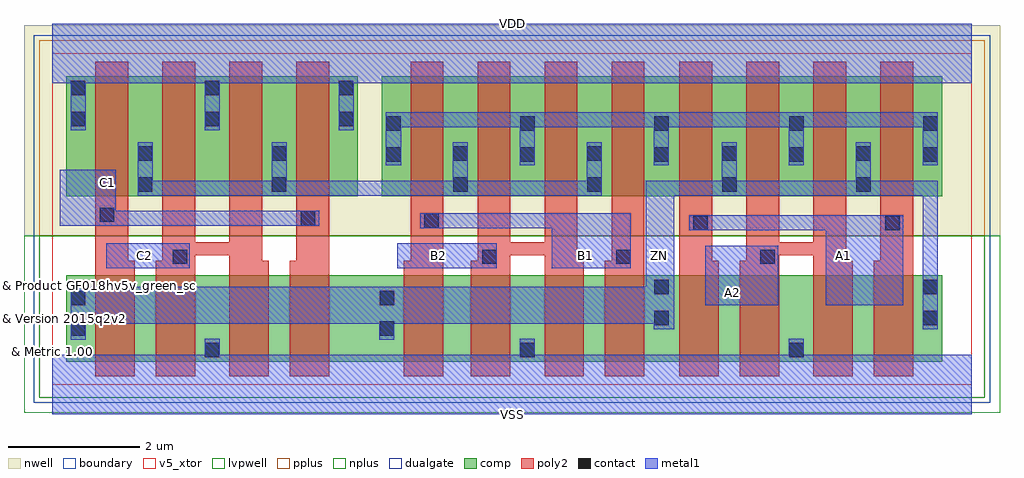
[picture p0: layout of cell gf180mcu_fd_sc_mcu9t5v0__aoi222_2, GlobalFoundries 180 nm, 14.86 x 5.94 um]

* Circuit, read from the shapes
.subckt gf180mcu_fd_sc_mcu9t5v0__aoi222_2 A1 A2 B1 B2 C1 C2 VDD VSS ZN
XM1 n1 C1 ZN VSUBS nfet_05v0 w=1.32u l=0.6u
XM2 VSS C2 n1 VSUBS nfet_05v0 w=1.32u l=0.6u
XM3 n2 C2 VSS VSUBS nfet_05v0 w=1.32u l=0.6u
XM4 ZN C1 n2 VSUBS nfet_05v0 w=1.32u l=0.6u
XM5 n3 B1 ZN VSUBS nfet_05v0 w=1.32u l=0.6u
XM6 VSS B2 n3 VSUBS nfet_05v0 w=1.32u l=0.6u
XM7 n4 B2 VSS VSUBS nfet_05v0 w=1.32u l=0.6u
XM8 ZN B1 n4 VSUBS nfet_05v0 w=1.32u l=0.6u
XM9 n5 A1 ZN VSUBS nfet_05v0 w=1.32u l=0.6u
XM10 VSS A2 n5 VSUBS nfet_05v0 w=1.32u l=0.6u
XM11 n6 A2 VSS VSUBS nfet_05v0 w=1.32u l=0.6u
XM12 ZN A1 n6 VSUBS nfet_05v0 w=1.32u l=0.6u
XM13 n7 C1 VDD n8 pfet_05v0 w=1.83u l=0.5u m=2
XM14 VDD C2 n7 n8 pfet_05v0 w=1.83u l=0.5u m=2
XM15 n7 B1 n9 n8 pfet_05v0 w=1.83u l=0.5u m=2
XM16 n9 B2 n7 n8 pfet_05v0 w=1.83u l=0.5u m=2
XM17 ZN A1 n9 n8 pfet_05v0 w=1.83u l=0.5u m=2
XM18 n9 A2 ZN n8 pfet_05v0 w=1.83u l=0.5u m=2
.ends

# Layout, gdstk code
import gdstk
lib = gdstk.Library(unit=1e-6, precision=1e-09)
def R(c, l, rs):  # rectangles x0, y0, x1, y1
    for r in rs: c.add(gdstk.rectangle(r[:2], r[2:], *l))
def A(c, l, x, y, w, h, nx, ny, dx, dy):  # array of equal rectangles
    R(c, l, [(x+i*dx, y+j*dy, x+i*dx+w, y+j*dy+h) for i in range(nx) for j in range(ny)])
def P(c, l, *ps):  # polygons
    for p in ps: c.add(gdstk.Polygon(p, *l))
boundary = (0, 0)
nwell = (21, 0)
comp = (22, 0)
poly2 = (30, 0)
pplus = (31, 0)
nplus = (32, 0)
contact = (33, 0)
metal1 = (34, 0)
dualgate = (55, 0)
v5_xtor = (112, 1)
lvpwell = (204, 0)

gf180mcu_fd_sc_mcu9t5v0_ = lib.new_cell('gf180mcu_fd_sc_mcu9t5v0__aoi222_2')
R(gf180mcu_fd_sc_mcu9t5v0_, boundary, [(0,0,14,5.04)])
R(gf180mcu_fd_sc_mcu9t5v0_, nwell, [(-0.43,2.265,14.43,5.47)])
R(gf180mcu_fd_sc_mcu9t5v0_, comp, [(0.215,0.345,13.55,1.665), (0.215,2.865,4.655,4.695), (5.015,2.865,13.55,4.695)])
P(gf180mcu_fd_sc_mcu9t5v0_, poly2, [(0.655,0.125),(0.655,4.915),(1.155,4.915),(1.155,1.885),(1.255,1.885),(1.255,0.125)],
  [(1.575,0.125),(1.575,1.885),(1.675,1.885),(1.675,4.915),(2.175,4.915),(2.175,2.165),(2.695,2.165),(2.695,4.915),(3.195,4.915),(3.195,1.885),(3.295,1.885),(3.295,0.125),(2.695,0.125),(2.695,1.965),(2.175,1.965),(2.175,0.125)],
  [(3.615,0.125),(3.615,1.885),(3.715,1.885),(3.715,4.915),(4.215,4.915),(4.215,0.125)],
  [(5.355,0.125),(5.355,1.885),(5.455,1.885),(5.455,4.915),(5.955,4.915),(5.955,0.125)],
  [(6.375,0.125),(6.375,1.885),(6.475,1.885),(6.475,4.915),(6.975,4.915),(6.975,2.165),(7.495,2.165),(7.495,4.915),(7.995,4.915),(7.995,1.885),(8.095,1.885),(8.095,0.125),(7.495,0.125),(7.495,1.965),(6.975,1.965),(6.975,0.125)],
  [(8.415,0.125),(8.415,1.885),(8.515,1.885),(8.515,4.915),(9.015,4.915),(9.015,0.125)],
  [(9.55,0.125),(9.55,4.915),(10.05,4.915),(10.05,1.885),(10.15,1.885),(10.15,0.125)],
  [(10.47,0.125),(10.47,1.885),(10.57,1.885),(10.57,4.915),(11.07,4.915),(11.07,2.165),(11.59,2.165),(11.59,4.915),(12.09,4.915),(12.09,1.885),(12.19,1.885),(12.19,0.125),(11.59,0.125),(11.59,1.965),(11.07,1.965),(11.07,0.125)],
  [(12.51,0.125),(12.51,1.885),(12.61,1.885),(12.61,4.915),(13.11,4.915),(13.11,0.125)])
R(gf180mcu_fd_sc_mcu9t5v0_, pplus, [(-0.2,2.265,14.2,5.24)])
R(gf180mcu_fd_sc_mcu9t5v0_, nplus, [(-0.2,-0.2,14.2,2.265)])
A(gf180mcu_fd_sc_mcu9t5v0_, contact, 5.085, 3.395, 0.22, 0.22, 3, 2, 2.04, 0.47)
A(gf180mcu_fd_sc_mcu9t5v0_, contact, 0.285, 3.935, 0.22, 0.22, 3, 2, 2.04, 0.47)
R(gf180mcu_fd_sc_mcu9t5v0_, contact, [(2.325,0.415,2.545,0.635), (7.125,0.415,7.345,0.635), (11.22,0.415,11.44,0.635), (0.285,0.74,0.505,0.96), (4.985,0.74,5.205,0.96), (9.165,0.905,9.385,1.125), (13.26,0.905,13.48,1.125), (0.285,1.21,0.505,1.43), (4.985,1.21,5.205,1.43), (9.165,1.375,9.385,1.595), (13.26,1.375,13.48,1.595), (1.835,1.835,2.055,2.055), (6.545,1.835,6.765,2.055), (8.585,1.835,8.805,2.055), (10.78,1.835,11,2.055), (9.76,2.35,9.98,2.57), (12.68,2.35,12.9,2.57), (5.665,2.385,5.885,2.605), (3.785,2.42,4.005,2.64), (0.725,2.475,0.945,2.695), (1.305,2.935,1.525,3.155), (3.345,2.935,3.565,3.155), (6.105,2.935,6.325,3.155), (8.145,2.935,8.365,3.155), (10.2,2.935,10.42,3.155), (12.24,2.935,12.46,3.155), (11.22,3.395,11.44,3.615), (13.26,3.395,13.48,3.615), (1.305,3.405,1.525,3.625), (3.345,3.405,3.565,3.625), (6.105,3.405,6.325,3.625), (8.145,3.405,8.365,3.625), (10.2,3.405,10.42,3.625), (12.24,3.405,12.46,3.625), (11.22,3.865,11.44,4.085), (13.26,3.865,13.48,4.085)])
R(gf180mcu_fd_sc_mcu9t5v0_, metal1, [(9.945,1.21,11.05,2.115), (0.825,1.77,2.09,2.15), (5.255,1.77,6.77,2.15)])
P(gf180mcu_fd_sc_mcu9t5v0_, metal1, [(0.115,2.415),(0.115,3.27),(0.97,3.27),(0.97,2.645),(4.065,2.645),(4.065,2.415)],
  [(1.3,2.875),(1.3,3.685),(1.53,3.685),(1.53,3.105),(3.34,3.105),(3.34,3.685),(3.57,3.685),(3.57,3.105),(6.1,3.105),(6.1,3.685),(6.33,3.685),(6.33,3.105),(8.14,3.105),(8.14,3.685),(8.37,3.685),(8.37,2.875)],
  [(7.605,1.77),(7.605,2.38),(5.605,2.38),(5.605,2.61),(8.81,2.61),(8.81,1.77)],
  [(11.775,1.21),(11.775,2.345),(9.7,2.345),(9.7,2.575),(12.96,2.575),(12.96,1.21)],
  [(0.28,0.68),(0.28,1.49),(9.04,1.49),(9.04,3.105),(10.195,3.105),(10.195,3.685),(10.425,3.685),(10.425,3.105),(12.235,3.105),(12.235,3.685),(12.465,3.685),(12.465,3.105),(13.485,3.105),(13.485,0.845),(13.255,0.845),(13.255,2.875),(9.47,2.875),(9.47,0.845),(9.16,0.845),(9.16,0.925),(5.21,0.925),(5.21,0.68),(4.98,0.68),(4.98,0.925),(0.51,0.925),(0.51,0.68)],
  [(5.08,3.335),(5.08,4.145),(13.485,4.145),(13.485,3.335),(13.255,3.335),(13.255,3.915),(11.445,3.915),(11.445,3.335),(11.215,3.335),(11.215,3.915),(9.39,3.915),(9.39,3.335),(9.16,3.335),(9.16,3.915),(7.35,3.915),(7.35,3.335),(7.12,3.335),(7.12,3.915),(5.31,3.915),(5.31,3.335)],
  [(0,-0.45),(0,0.45),(2.32,0.45),(2.32,0.695),(2.55,0.695),(2.55,0.45),(7.12,0.45),(7.12,0.695),(7.35,0.695),(7.35,0.45),(11.215,0.45),(11.215,0.695),(11.445,0.695),(11.445,0.45),(14,0.45),(14,-0.45)],
  [(0.28,3.875),(0.28,4.59),(0,4.59),(0,5.49),(14,5.49),(14,4.59),(4.59,4.59),(4.59,3.875),(4.36,3.875),(4.36,4.59),(2.55,4.59),(2.55,3.875),(2.32,3.875),(2.32,4.59),(0.51,4.59),(0.51,3.875)])
R(gf180mcu_fd_sc_mcu9t5v0_, dualgate, [(-0.28,-0.28,14.28,5.32)])
R(gf180mcu_fd_sc_mcu9t5v0_, v5_xtor, [(0,0,14,5.04)])
R(gf180mcu_fd_sc_mcu9t5v0_, lvpwell, [(-0.43,-0.43,14.43,2.265)])
gf180mcu_fd_sc_mcu9t5v0_.add(gdstk.Label('A1', (12.04,1.96), layer=34, texttype=10))
gf180mcu_fd_sc_mcu9t5v0_.add(gdstk.Label('A2', (10.36,1.4), layer=34, texttype=10))
gf180mcu_fd_sc_mcu9t5v0_.add(gdstk.Label('B1', (8.12,1.96), layer=34, texttype=10))
gf180mcu_fd_sc_mcu9t5v0_.add(gdstk.Label('B2', (5.88,1.96), layer=34, texttype=10))
gf180mcu_fd_sc_mcu9t5v0_.add(gdstk.Label('C1', (0.84,3.08), layer=34, texttype=10))
gf180mcu_fd_sc_mcu9t5v0_.add(gdstk.Label('C2', (1.4,1.96), layer=34, texttype=10))
gf180mcu_fd_sc_mcu9t5v0_.add(gdstk.Label('VDD', (7,5.49), layer=34, texttype=10))
gf180mcu_fd_sc_mcu9t5v0_.add(gdstk.Label('VSS', (7,-0.45), layer=34, texttype=10))
gf180mcu_fd_sc_mcu9t5v0_.add(gdstk.Label('ZN', (9.24,1.96), layer=34, texttype=10))
gf180mcu_fd_sc_mcu9t5v0_.add(gdstk.Label('& Vendor GLOBALFOUNDRIES', (0,2), layer=63, texttype=63))
gf180mcu_fd_sc_mcu9t5v0_.add(gdstk.Label('& Product GF018hv5v_green_sc9', (0,1.5), layer=63, texttype=63))
gf180mcu_fd_sc_mcu9t5v0_.add(gdstk.Label('& Version 2015q2v2', (0,1), layer=63, texttype=63))
gf180mcu_fd_sc_mcu9t5v0_.add(gdstk.Label('& Metric 1.00', (0,0.5), layer=63, texttype=63))

lib.write_gds('gf180mcu_fd_sc_mcu9t5v0__aoi222_2.gds')
